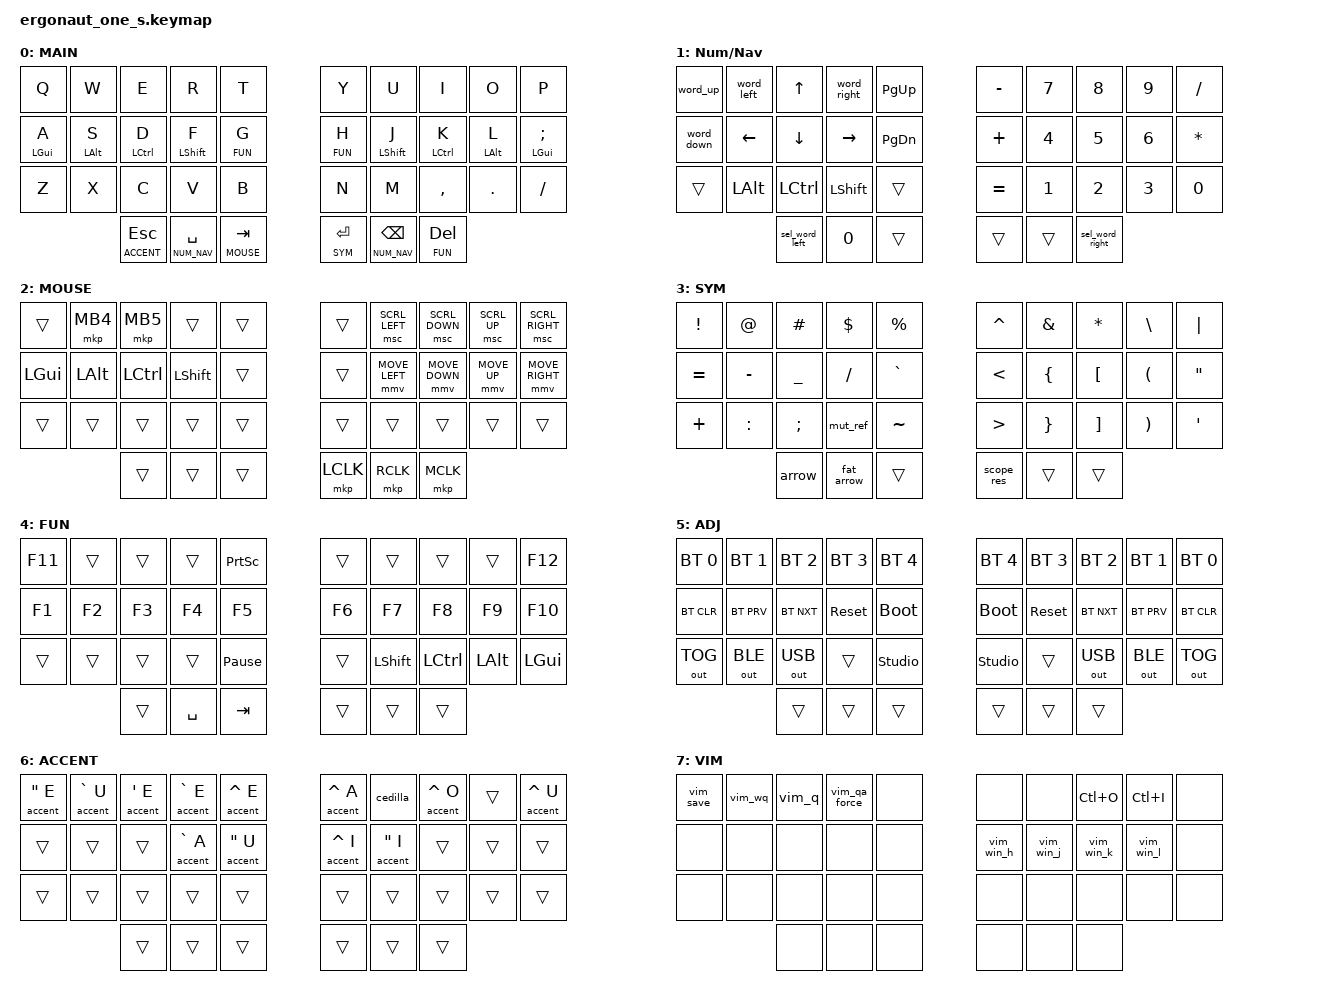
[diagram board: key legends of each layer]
#include <behaviors.dtsi>
#include <dt-bindings/zmk/keys.h>
#include <dt-bindings/zmk/bt.h>
#include <dt-bindings/zmk/outputs.h>

// Bump the default mouse move/scroll speeds up a bit before pulling in the
// macros, then tune acceleration below so a quick tap stays precise for
// clicking small UI targets, but holding a direction ramps up to a fast
// glide across the screen.
#define ZMK_POINTING_DEFAULT_MOVE_VAL 1200 // default: 600
#define ZMK_POINTING_DEFAULT_SCRL_VAL 20   // default: 10
#include <dt-bindings/zmk/pointing.h>

#define BASE 0
#define NUM_NAV 1
#define MOUSE 2
#define SYM 3
#define FUN 4
#define ADJ 5
#define ACCENT 6
#define VIM 7

// Requires CONFIG_ZMK_POINTING=y in your .conf, otherwise the
// &mmv / &msc / &mkp bindings in the MOUSE layer will not do anything.
&mmv {
    time-to-max-speed-ms = <400>;
    acceleration-exponent = <1>;
};

&msc {
    time-to-max-speed-ms = <300>;
    acceleration-exponent = <0>;
};

/ {
        macros {
                accent: accent_macro {
                        compatible = "zmk,behavior-macro-two-param";
                        #binding-cells = <2>;
                        bindings =
                                <&macro_param_1to1>,
                                <&kp MACRO_PLACEHOLDER>,
                                <&macro_param_2to1>,
                                <&kp MACRO_PLACEHOLDER>;
                };
                // Cedilla on US International: AltGr+comma is the dead key,
                // then c produces ç.
                cedilla: cedilla_macro {
                        compatible = "zmk,behavior-macro";
                        label = "CEDILLA";
                        #binding-cells = <0>;
                        bindings = <&kp RA(COMMA) &kp C>;
                };
                arrow: arrow_macro {
                        compatible = "zmk,behavior-macro";
                        label = "ARROW";
                        #binding-cells = <0>;
                        bindings = <&kp MINUS &kp GT>;
                };
                fat_arrow: fat_arrow_macro {
                        compatible = "zmk,behavior-macro";
                        label = "FAT_ARROW";
                        #binding-cells = <0>;
                        bindings = <&kp EQUAL &kp GT>;
                };
                scope_res: scope_res_macro {
                        compatible = "zmk,behavior-macro";
                        label = "SCOPE_RES";
                        #binding-cells = <0>;
                        bindings = <&kp COLON &kp COLON>;
                };
                mut_ref: mut_ref_macro {
                        compatible = "zmk,behavior-macro";
                        label = "MUT_REF";
                        #binding-cells = <0>;
                        bindings = <&kp AMPS &kp M &kp U &kp T &kp SPACE>;
                };
                word_up: word_up_macro {
                        compatible = "zmk,behavior-macro";
                        label = "WORD_UP";
                        #binding-cells = <0>;
                        bindings = <&kp LC(UP)>;
                };
                word_down: word_down_macro {
                        compatible = "zmk,behavior-macro";
                        label = "WORD_DOWN";
                        #binding-cells = <0>;
                        bindings = <&kp LC(DOWN)>;
                };
                word_left: word_left_macro {
                        compatible = "zmk,behavior-macro";
                        label = "WORD_LEFT";
                        #binding-cells = <0>;
                        bindings = <&kp LC(LEFT)>;
                };
                word_right: word_right_macro {
                        compatible = "zmk,behavior-macro";
                        label = "WORD_RIGHT";
                        #binding-cells = <0>;
                        bindings = <&kp LC(RIGHT)>;
                };
                sel_word_left: sel_word_left_macro {
                        compatible = "zmk,behavior-macro";
                        label = "SEL_WORD_LEFT";
                        #binding-cells = <0>;
                        bindings
                                = <&macro_press &kp LCTRL &kp LSHFT>
                                , <&macro_tap &kp LEFT>
                                , <&macro_release &kp LCTRL &kp LSHFT>
                                ;
                };
                sel_word_right: sel_word_right_macro {
                        compatible = "zmk,behavior-macro";
                        label = "SEL_WORD_RIGHT";
                        #binding-cells = <0>;
                        bindings
                                = <&macro_press &kp LCTRL &kp LSHFT>
                                , <&macro_tap &kp RIGHT>
                                , <&macro_release &kp LCTRL &kp LSHFT>
                                ;
                };
                vim_save: vim_save_macro {
                        compatible = "zmk,behavior-macro";
                        label = "VIM_SAVE";
                        #binding-cells = <0>;
                        bindings = <&kp COLON &kp W &kp RET>;
                };
                vim_wq: vim_wq_macro {
                        compatible = "zmk,behavior-macro";
                        label = "VIM_WQ";
                        #binding-cells = <0>;
                        bindings = <&kp COLON &kp W &kp Q &kp RET>;
                };
                vim_q: vim_q_macro {
                        compatible = "zmk,behavior-macro";
                        label = "VIM_Q";
                        #binding-cells = <0>;
                        bindings = <&kp COLON &kp Q &kp RET>;
                };
                vim_qa_force: vim_qa_force_macro {
                        compatible = "zmk,behavior-macro";
                        label = "VIM_QA_FORCE";
                        #binding-cells = <0>;
                        bindings = <&kp COLON &kp Q &kp A &kp EXCL &kp RET>;
                };
                vim_win_h: vim_win_h_macro {
                        compatible = "zmk,behavior-macro";
                        label = "VIM_WIN_H";
                        #binding-cells = <0>;
                        bindings
                                = <&macro_press &kp LCTRL>
                                , <&macro_tap &kp W>
                                , <&macro_release &kp LCTRL>
                                , <&macro_tap &kp H>
                                ;
                };
                vim_win_j: vim_win_j_macro {
                        compatible = "zmk,behavior-macro";
                        label = "VIM_WIN_J";
                        #binding-cells = <0>;
                        bindings
                                = <&macro_press &kp LCTRL>
                                , <&macro_tap &kp W>
                                , <&macro_release &kp LCTRL>
                                , <&macro_tap &kp J>
                                ;
                };
                vim_win_k: vim_win_k_macro {
                        compatible = "zmk,behavior-macro";
                        label = "VIM_WIN_K";
                        #binding-cells = <0>;
                        bindings
                                = <&macro_press &kp LCTRL>
                                , <&macro_tap &kp W>
                                , <&macro_release &kp LCTRL>
                                , <&macro_tap &kp K>
                                ;
                };
                vim_win_l: vim_win_l_macro {
                        compatible = "zmk,behavior-macro";
                        label = "VIM_WIN_L";
                        #binding-cells = <0>;
                        bindings
                                = <&macro_press &kp LCTRL>
                                , <&macro_tap &kp W>
                                , <&macro_release &kp LCTRL>
                                , <&macro_tap &kp L>
                                ;
                };
        };

        combos {
                compatible = "zmk,combos";
                // Hold the two innermost thumb keys (TAB + RET, where the
                // left and right thumb clusters meet) from any layer to
                // reach ADJ (bluetooth profiles, bootloader, reset).
                combo_adj {
                        timeout-ms = <200>;
                        key-positions = <32 33>;
                        bindings = <&mo ADJ>;
                        slow-release;
                };
                combo_vim {
                        timeout-ms = <200>;
                        key-positions = <34 35>;
                        bindings = <&mo VIM>;
                        slow-release;
                };

                // Only two symbol combos remain: W+R gives "(" and E+R gives
                // ")". They share R, so ZMK may wait briefly before deciding.
                combo_lparen {
                        timeout-ms = <18>;
                        require-prior-idle-ms = <150>;
                        key-positions = <1 3>;
                        layers = <BASE NUM_NAV>;
                        bindings = <&kp LPAR>;
                };
                combo_rparen {
                        timeout-ms = <18>;
                        require-prior-idle-ms = <150>;
                        key-positions = <2 3>;
                        layers = <BASE NUM_NAV>;
                        bindings = <&kp RPAR>;
                };
        };

        behaviors {
                // Home row mods use tap-preferred: a modifier only activates
                // when the key is actually held past tapping-term-ms, not when
                // another key is rolled over it. This stops false triggers
                // like "ai" -> Cmd+I or "so" -> Alt+O.
                hml: homerow_mods_left {
                        compatible = "zmk,behavior-hold-tap";
                        label = "HOMEROW_MODS_LEFT";
                        #binding-cells = <2>;
                        tapping-term-ms = <220>;
                        quick-tap-ms = <175>;
                        require-prior-idle-ms = <150>;
                        flavor = "tap-preferred";
                        bindings = <&kp>, <&kp>;
                };
                hmr: homerow_mods_right {
                        compatible = "zmk,behavior-hold-tap";
                        label = "HOMEROW_MODS_RIGHT";
                        #binding-cells = <2>;
                        tapping-term-ms = <220>;
                        quick-tap-ms = <175>;
                        require-prior-idle-ms = <150>;
                        flavor = "tap-preferred";
                        bindings = <&kp>, <&kp>;
                };
                hml_fn: homerow_fn_left {
                        compatible = "zmk,behavior-hold-tap";
                        label = "HOMEROW_FN_LEFT";
                        #binding-cells = <2>;
                        tapping-term-ms = <220>;
                        quick-tap-ms = <175>;
                        require-prior-idle-ms = <150>;
                        flavor = "tap-preferred";
                        bindings = <&mo>, <&kp>;
                };
                hmr_fn: homerow_fn_right {
                        compatible = "zmk,behavior-hold-tap";
                        label = "HOMEROW_FN_RIGHT";
                        #binding-cells = <2>;
                        tapping-term-ms = <220>;
                        quick-tap-ms = <175>;
                        require-prior-idle-ms = <150>;
                        flavor = "tap-preferred";
                        bindings = <&mo>, <&kp>;
                };
        };

        keymap {
                compatible = "zmk,keymap";

                default_layer {
                        display-name = "MAIN";
                        bindings = <
   &kp Q        &kp W        &kp E         &kp R          &kp T          &kp Y        &kp U         &kp I         &kp O        &kp P
   &hml LGUI A  &hml LALT S  &hml LCTRL D  &hml LSHFT F   &hml_fn FUN G  &hmr_fn FUN H &hmr LSHFT J  &hmr LCTRL K  &hmr LALT L  &hmr LGUI SEMI
   &kp Z        &kp X        &kp C         &kp V          &kp B          &kp N        &kp M         &kp COMMA     &kp DOT      &kp FSLH
                              &lt ACCENT ESC &lt NUM_NAV SPACE  &lt MOUSE TAB  &lt SYM RET  &lt NUM_NAV BSPC  &lt FUN DEL
                        >;
                };

                num_nav_layer {
                        display-name = "Num/Nav";
                        bindings = <
   &word_up    &word_left  &kp UP         &word_right    &kp PG_UP         &kp MINUS    &kp N7        &kp N8       &kp N9      &kp FSLH
   &word_down  &kp LEFT    &kp DOWN       &kp RIGHT      &kp PG_DN         &kp PLUS     &kp N4        &kp N5       &kp N6      &kp STAR
   &trans      &kp LALT    &kp LCTRL      &kp LSHFT      &trans            &kp EQUAL    &kp N1        &kp N2       &kp N3      &kp N0
                             &sel_word_left &kp N0         &trans            &trans       &trans        &sel_word_right
                        >;
                };

                mouse_layer {
                        display-name = "MOUSE";
                        bindings = <
   &trans       &mkp MB4    &mkp MB5       &trans          &trans             &trans             &msc SCRL_LEFT   &msc SCRL_DOWN   &msc SCRL_UP     &msc SCRL_RIGHT
   &kp LGUI    &kp LALT    &kp LCTRL      &kp LSHFT      &trans             &trans             &mmv MOVE_LEFT   &mmv MOVE_DOWN   &mmv MOVE_UP     &mmv MOVE_RIGHT
   &trans       &trans       &trans          &trans          &trans             &trans             &trans            &trans            &trans            &trans
                           &trans          &trans          &trans             &mkp LCLK         &mkp RCLK        &mkp MCLK
                        >;
                };

                sym_layer {
                        display-name = "SYM";
                        bindings = <
   &kp EXCL    &kp AT      &kp HASH       &kp DLLR       &kp PRCNT         &kp CARET    &kp AMPS      &kp STAR     &kp BSLH    &kp PIPE
   &kp EQUAL   &kp MINUS   &kp UNDER      &kp FSLH       &kp GRAVE         &kp LT       &kp LBRC      &kp LBKT     &kp LPAR    &kp DQT
   &kp PLUS    &kp COLON   &kp SEMI       &mut_ref       &kp TILDE         &kp GT       &kp RBRC      &kp RBKT     &kp RPAR    &kp SQT
                           &arrow         &fat_arrow     &trans            &scope_res   &trans        &trans
                        >;
                };

                fun_layer {
                        display-name = "FUN";
                        bindings = <
   &kp F11     &trans      &trans         &trans         &kp PSCRN         &trans        &trans         &trans        &trans       &kp F12
   &kp F1      &kp F2      &kp F3         &kp F4         &kp F5            &kp F6        &kp F7         &kp F8        &kp F9       &kp F10
   &trans      &trans      &trans         &trans         &kp PAUSE_BREAK   &trans        &kp LSHFT      &kp LCTRL     &kp LALT     &kp LGUI
                           &trans          &kp SPACE      &kp TAB           &trans        &trans         &trans
                        >;
                };

                adj_layer {
                        display-name = "ADJ";
                        bindings = <
   &bt BT_SEL 0  &bt BT_SEL 1  &bt BT_SEL 2  &bt BT_SEL 3 &bt BT_SEL 4   &bt BT_SEL 4   &bt BT_SEL 3  &bt BT_SEL 2  &bt BT_SEL 1 &bt BT_SEL 0
   &bt BT_CLR    &bt BT_PRV    &bt BT_NXT    &sys_reset   &bootloader    &bootloader    &sys_reset    &bt BT_NXT    &bt BT_PRV   &bt BT_CLR
   &out OUT_TOG  &out OUT_BLE  &out OUT_USB  &trans        &studio_unlock &studio_unlock &trans         &out OUT_USB  &out OUT_BLE &out OUT_TOG
                               &trans         &trans        &trans          &trans          &trans       &trans
                        >;
                };

                // Accent layer (hold the left thumb ACCENT key, then press the
                // letter). Dead-key accents send the US International dead key
                // then the letter. ç uses the cedilla macro (AltGr+comma, c).
                accent_layer {
                        display-name = "ACCENT";
                        bindings = <
   &accent DQT E    &accent GRAVE U  &accent SQT E    &accent GRAVE E  &accent CARET E  &accent CARET A  &cedilla         &accent CARET O  &trans        &accent CARET U
   &trans           &trans           &trans           &accent GRAVE A  &accent DQT U    &accent CARET I  &accent DQT I   &trans           &trans        &trans
   &trans           &trans           &trans           &trans           &trans           &trans           &trans           &trans           &trans        &trans
                    &trans           &trans           &trans           &trans           &trans           &trans
                        >;
                };

                vim_layer {
                        display-name = "VIM";
                        bindings = <
   &vim_save    &vim_wq     &vim_q         &vim_qa_force  &none             &none        &none         &kp LC(O)    &kp LC(I)   &none
   &none        &none       &none          &none          &none             &vim_win_h   &vim_win_j    &vim_win_k   &vim_win_l  &none
   &none        &none       &none          &none          &none             &none        &none         &none        &none       &none
                            &none           &none          &none             &none        &none         &none
                        >;
                };
        };
};
